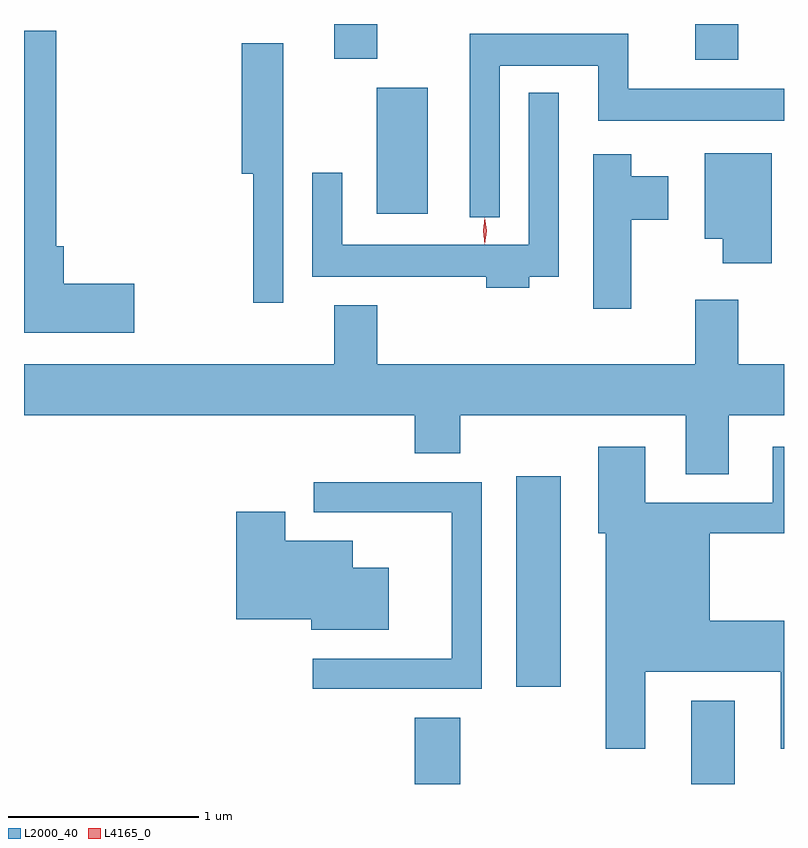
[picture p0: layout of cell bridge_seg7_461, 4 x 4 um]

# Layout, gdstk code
import gdstk
lib = gdstk.Library(unit=1e-6, precision=1e-09)
def R(c, l, rs):  # rectangles x0, y0, x1, y1
    for r in rs: c.add(gdstk.rectangle(r[:2], r[2:], *l))
def P(c, l, *ps):  # polygons
    for p in ps: c.add(gdstk.Polygon(p, *l))
L2000_40 = (2000, 40)
L4165_0 = (4165, 0)

bridge_seg7_461 = lib.new_cell('bridge_seg7_461')
R(bridge_seg7_461, L2000_40, [(1117.156,1696.835,1117.394,1697.184), (1118.611,1696.835,1118.839,1697.274), (1117.691,1697.346,1117.924,1698.454), (1116.956,1699.836,1117.224,1700.499), (1118.631,1700.646,1118.859,1700.835), (1116.731,1700.651,1116.959,1700.835)])
P(bridge_seg7_461, L2000_40, [(1115.679,1699.469),(1115.309,1699.469),(1115.309,1699.664),(1115.269,1699.664),(1115.269,1700.799),(1115.099,1700.799),(1115.099,1699.211),(1115.679,1699.211)],
  [(1117.604,1700.616),(1118.121,1700.616),(1118.121,1700.326),(1119.099,1700.326),(1119.099,1700.494),(1118.279,1700.494),(1118.279,1700.784),(1117.446,1700.784),(1117.446,1699.818),(1117.604,1699.818)],
  [(1116.464,1700.734),(1116.246,1700.734),(1116.246,1700.046),(1116.306,1700.046),(1116.306,1699.368),(1116.464,1699.368)],
  [(1117.759,1699.506),(1117.914,1699.506),(1117.914,1700.473),(1117.756,1700.473),(1117.756,1699.674),(1116.774,1699.674),(1116.774,1700.053),(1116.616,1700.053),(1116.616,1699.506),(1117.531,1699.506),(1117.531,1699.446),(1117.759,1699.446)],
  [(1119.034,1700.154),(1118.681,1700.154),(1118.681,1699.706),(1118.776,1699.706),(1118.776,1699.576),(1119.034,1699.576)],
  [(1118.294,1699.806),(1118.489,1699.806),(1118.489,1700.034),(1118.294,1700.034),(1118.294,1700.149),(1118.096,1700.149),(1118.096,1699.336),(1118.294,1699.336)],
  [(1118.809,1698.776),(1119.099,1698.776),(1119.099,1699.044),(1118.859,1699.044),(1118.859,1699.384),(1118.631,1699.384),(1118.631,1699.044),(1116.959,1699.044),(1116.959,1699.354),(1116.731,1699.354),(1116.731,1699.044),(1115.099,1699.044),(1115.099,1698.776),(1117.156,1698.776),(1117.156,1698.576),(1117.394,1698.576),(1117.394,1698.776),(1118.581,1698.776),(1118.581,1698.466),(1118.809,1698.466)],
  [(1118.369,1697.426),(1119.081,1697.426),(1119.081,1697.021),(1119.099,1697.021),(1119.099,1697.694),(1118.709,1697.694),(1118.709,1698.156),(1119.099,1698.156),(1119.099,1698.609),(1119.041,1698.609),(1119.041,1698.314),(1118.369,1698.314),(1118.369,1698.609),(1118.121,1698.609),(1118.121,1698.156),(1118.161,1698.156),(1118.161,1697.021),(1118.369,1697.021)],
  [(1117.509,1698.424),(1116.623,1698.424),(1116.623,1698.266),(1117.351,1698.266),(1117.351,1697.494),(1116.618,1697.494),(1116.618,1697.336),(1117.509,1697.336)],
  [(1117.019,1697.974),(1116.829,1697.974),(1116.829,1698.114),(1116.474,1698.114),(1116.474,1698.269),(1116.216,1698.269),(1116.216,1697.701),(1116.611,1697.701),(1116.611,1697.646),(1117.019,1697.646)])
P(bridge_seg7_461, L4165_0, [(1117.524,1699.677),(1117.515,1699.746),(1117.524,1699.816),(1117.525,1699.816),(1117.525,1699.816),(1117.535,1699.746),(1117.525,1699.677),(1117.525,1699.677)])

lib.write_gds('bridge_seg7_461.gds')
